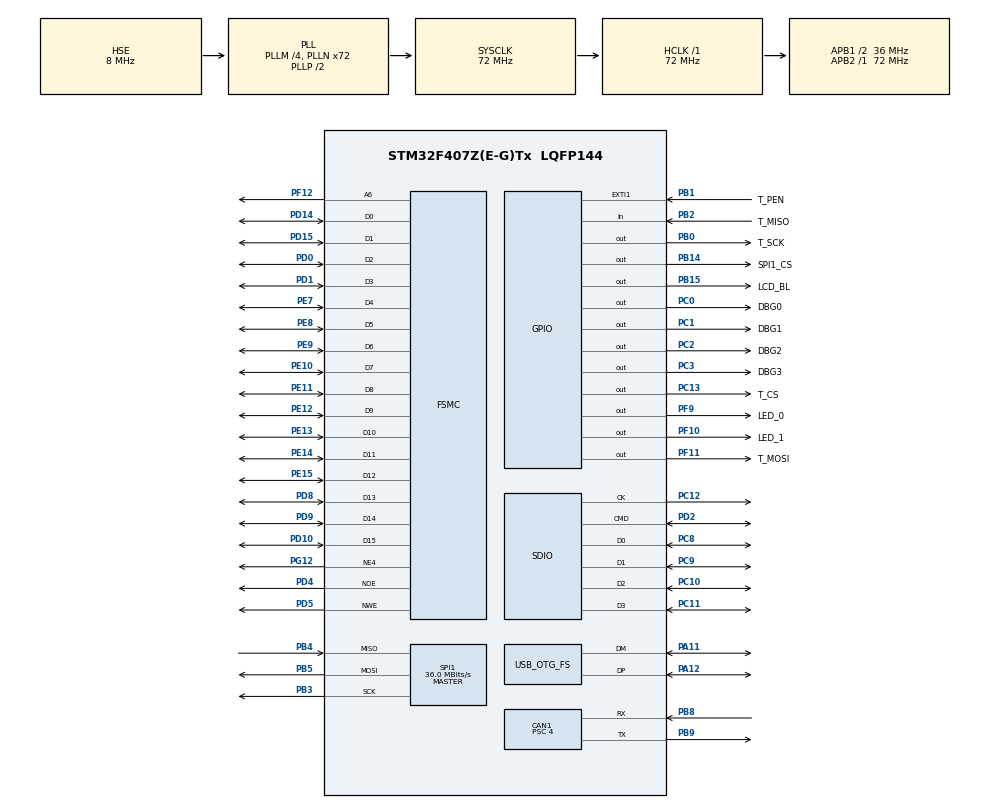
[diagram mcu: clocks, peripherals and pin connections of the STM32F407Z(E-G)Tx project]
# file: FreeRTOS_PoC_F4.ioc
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CAN1.BS1=CAN_BS1_14TQ
CAN1.BS2=CAN_BS2_3TQ
CAN1.CalculateBaudRate=500000
CAN1.CalculateTimeBit=2000
CAN1.CalculateTimeQuantum=111.11111111111111
CAN1.NART=ENABLE
CAN1.Prescaler=4
Dma.Request0=SPI1_RX
Dma.Request1=SPI1_TX
Dma.SPI1_RX.0.Direction=DMA_PERIPH_TO_MEMORY
Dma.SPI1_RX.0.FIFOMode=DMA_FIFOMODE_DISABLE
Dma.SPI1_RX.0.Instance=DMA2_Stream0
Dma.SPI1_RX.0.MemDataAlignment=DMA_MDATAALIGN_BYTE
Dma.SPI1_RX.0.MemInc=DMA_MINC_ENABLE
Dma.SPI1_RX.0.Mode=DMA_NORMAL
Dma.SPI1_RX.0.PeriphDataAlignment=DMA_PDATAALIGN_BYTE
Dma.SPI1_RX.0.PeriphInc=DMA_PINC_DISABLE
Dma.SPI1_RX.0.Priority=DMA_PRIORITY_HIGH
Dma.SPI1_TX.1.Direction=DMA_MEMORY_TO_PERIPH
Dma.SPI1_TX.1.FIFOMode=DMA_FIFOMODE_DISABLE
Dma.SPI1_TX.1.Instance=DMA2_Stream3
Dma.SPI1_TX.1.MemDataAlignment=DMA_MDATAALIGN_BYTE
Dma.SPI1_TX.1.MemInc=DMA_MINC_ENABLE
Dma.SPI1_TX.1.Mode=DMA_NORMAL
Dma.SPI1_TX.1.PeriphDataAlignment=DMA_PDATAALIGN_BYTE
Dma.SPI1_TX.1.PeriphInc=DMA_PINC_DISABLE
Dma.SPI1_TX.1.Priority=DMA_PRIORITY_MEDIUM
FREERTOS.Mutexes01=screenPosMutex,Dynamic,NULL,Available
FREERTOS.Tasks01=defaultTask,24,128,StartDefaultTask,Default,NULL,Dynamic,NULL,NULL;usbTask,25,196,StartUsbTask,Default,NULL,Dynamic,NULL,NULL;touchTask,9,128,StartTouchTask,Default,NULL,Dynamic,NULL,NULL;drawTask,8,128,StartDrawTask,Default,NULL,Dynamic,NULL,NULL
FREERTOS.configUSE_NEWLIB_REENTRANT=1
FSMC.AddressSetupTime4=1
FSMC.BusTurnAroundDuration4=0
FSMC.DataSetupTime4=6
FSMC.ExtendedAddressSetupTime4=1
FSMC.ExtendedBusTurnAroundDuration4=0
FSMC.ExtendedDataSetupTime4=6
FSMC.ExtendedMode4=FSMC_EXTENDED_MODE_ENABLE
Mcu.Family=STM32F4
Mcu.Name=STM32F407Z(E-G)Tx
Mcu.Package=LQFP144
NVIC.DMA2_Stream0_IRQn=true\:5\:0\:false\:false\:true\:true\:false\:true\:true
NVIC.DMA2_Stream3_IRQn=true\:5\:0\:false\:false\:true\:true\:false\:true\:true
NVIC.EXTI1_IRQn=true\:5\:0\:false\:false\:true\:true\:true\:true\:true
NVIC.OTG_FS_IRQn=true\:5\:0\:false\:false\:true\:true\:false\:true\:true
NVIC.PriorityGroup=NVIC_PRIORITYGROUP_4
NVIC.RCC_IRQn=true\:5\:0\:false\:false\:true\:true\:true\:false\:true
NVIC.SPI1_IRQn=true\:5\:0\:false\:false\:true\:true\:true\:true\:true
NVIC.TIM2_IRQn=true\:15\:0\:false\:false\:true\:false\:false\:true\:true
NVIC.TimeBase=TIM2_IRQn
NVIC.TimeBaseIP=TIM2
PA11.Mode=Device_Only
PA11.Signal=USB_OTG_FS_DM
PA12.Mode=Device_Only
PA12.Signal=USB_OTG_FS_DP
PA13.Mode=Serial_Wire
PA13.Signal=SYS_JTMS-SWDIO
PA14.Mode=Serial_Wire
PA14.Signal=SYS_JTCK-SWCLK
PB0.GPIO_Label=T_SCK
PB0.GPIO_Speed=GPIO_SPEED_FREQ_MEDIUM
PB0.Signal=GPIO_Output
PB1.GPIO_Label=T_PEN
PB1.GPIO_ModeDefaultEXTI=GPIO_MODE_IT_FALLING
PB1.GPIO_PuPd=GPIO_PULLUP
PB1.Signal=GPXTI1
PB14.GPIO_Label=SPI1_CS
PB14.GPIO_Speed=GPIO_SPEED_FREQ_VERY_HIGH
PB14.PinState=GPIO_PIN_SET
PB14.Signal=GPIO_Output
PB15.GPIO_Label=LCD_BL
PB15.Signal=GPIO_Output
PB2.GPIO_Label=T_MISO
PB2.Signal=GPIO_Input
PB3.Mode=Full_Duplex_Master
PB3.Signal=SPI1_SCK
PB4.Mode=Full_Duplex_Master
PB4.Signal=SPI1_MISO
PB5.Mode=Full_Duplex_Master
PB5.Signal=SPI1_MOSI
PB8.Mode=CAN_Activate
PB8.Signal=CAN1_RX
PB9.Mode=CAN_Activate
PB9.Signal=CAN1_TX
PC0.GPIO_Label=DBG0
PC0.GPIO_Speed=GPIO_SPEED_FREQ_MEDIUM
PC0.Signal=GPIO_Output
PC1.GPIO_Label=DBG1
PC1.GPIO_Speed=GPIO_SPEED_FREQ_MEDIUM
PC1.Signal=GPIO_Output
PC10.Mode=SD_4_bits_Wide_bus
PC10.Signal=SDIO_D2
PC11.Mode=SD_4_bits_Wide_bus
PC11.Signal=SDIO_D3
PC12.Mode=SD_4_bits_Wide_bus
PC12.Signal=SDIO_CK
PC13-ANTI_TAMP.GPIO_Label=T_CS
PC13-ANTI_TAMP.PinState=GPIO_PIN_SET
PC13-ANTI_TAMP.Signal=GPIO_Output
PC14-OSC32_IN.Mode=LSE-External-Oscillator
PC14-OSC32_IN.Signal=RCC_OSC32_IN
PC15-OSC32_OUT.Mode=LSE-External-Oscillator
PC15-OSC32_OUT.Signal=RCC_OSC32_OUT
PC2.GPIO_Label=DBG2
PC2.GPIO_Speed=GPIO_SPEED_FREQ_MEDIUM
PC2.Signal=GPIO_Output
PC3.GPIO_Label=DBG3
PC3.GPIO_Speed=GPIO_SPEED_FREQ_MEDIUM
PC3.Signal=GPIO_Output
PC8.Mode=SD_4_bits_Wide_bus
PC8.Signal=SDIO_D0
PC9.Mode=SD_4_bits_Wide_bus
PC9.Signal=SDIO_D1
PD0.Signal=FSMC_D2_DA2
PD1.Signal=FSMC_D3_DA3
PD10.Signal=FSMC_D15_DA15
PD14.Signal=FSMC_D0_DA0
PD15.Signal=FSMC_D1_DA1
PD2.Mode=SD_4_bits_Wide_bus
PD2.Signal=SDIO_CMD
PD4.Signal=FSMC_NOE
PD5.Signal=FSMC_NWE
PD8.Signal=FSMC_D13_DA13
PD9.Signal=FSMC_D14_DA14
PE10.Signal=FSMC_D7_DA7
PE11.Signal=FSMC_D8_DA8
PE12.Signal=FSMC_D9_DA9
PE13.Signal=FSMC_D10_DA10
PE14.Signal=FSMC_D11_DA11
PE15.Signal=FSMC_D12_DA12
PE7.Signal=FSMC_D4_DA4
PE8.Signal=FSMC_D5_DA5
PE9.Signal=FSMC_D6_DA6
PF10.GPIO_Label=LED_1
PF10.GPIO_ModeDefaultOutputPP=GPIO_MODE_OUTPUT_OD
PF10.GPIO_PuPd=GPIO_NOPULL
PF10.PinState=GPIO_PIN_SET
PF10.Signal=GPIO_Output
PF11.GPIO_Label=T_MOSI
PF11.GPIO_ModeDefaultOutputPP=GPIO_MODE_OUTPUT_PP
PF11.GPIO_Speed=GPIO_SPEED_FREQ_MEDIUM
PF11.PinState=GPIO_PIN_SET
PF11.Signal=GPIO_Output
PF12.Signal=FSMC_A6
PF9.GPIO_Label=LED_0
PF9.GPIO_ModeDefaultOutputPP=GPIO_MODE_OUTPUT_OD
PF9.GPIO_PuPd=GPIO_NOPULL
PF9.PinState=GPIO_PIN_SET
PF9.Signal=GPIO_Output
PG12.Mode=NorPsramChipSelect4_4
PG12.Signal=FSMC_NE4
PH0-OSC_IN.Mode=HSE-External-Oscillator
PH0-OSC_IN.Signal=RCC_OSC_IN
PH1-OSC_OUT.Mode=HSE-External-Oscillator
PH1-OSC_OUT.Signal=RCC_OSC_OUT
ProjectManager.HeapSize=0x200
ProjectManager.StackSize=0x400
ProjectManager.TargetToolchain=STM32CubeIDE
RCC.48MHZClocksFreq_Value=48000000
RCC.AHBFreq_Value=72000000
RCC.APB1CLKDivider=RCC_HCLK_DIV2
RCC.APB1Freq_Value=36000000
RCC.APB1TimFreq_Value=72000000
RCC.APB2Freq_Value=72000000
RCC.APB2TimFreq_Value=72000000
RCC.CortexFreq_Value=72000000
RCC.HCLKFreq_Value=72000000
RCC.HSE_VALUE=8000000
RCC.HSI_VALUE=16000000
RCC.PLLM=4
RCC.PLLN=72
RCC.PLLQ=3
RCC.SYSCLKFreq_VALUE=72000000
RCC.SYSCLKSource=RCC_SYSCLKSOURCE_PLLCLK
RCC.VCOOutputFreq_Value=144000000
SDIO.ClockDiv=10
SH.FSMC_A6.0=FSMC_A6,A6_4
SH.FSMC_D0_DA0.0=FSMC_D0,16b-d4
SH.FSMC_D10_DA10.0=FSMC_D10,16b-d4
SH.FSMC_D11_DA11.0=FSMC_D11,16b-d4
SH.FSMC_D12_DA12.0=FSMC_D12,16b-d4
SH.FSMC_D13_DA13.0=FSMC_D13,16b-d4
SH.FSMC_D14_DA14.0=FSMC_D14,16b-d4
SH.FSMC_D15_DA15.0=FSMC_D15,16b-d4
SH.FSMC_D1_DA1.0=FSMC_D1,16b-d4
SH.FSMC_D2_DA2.0=FSMC_D2,16b-d4
SH.FSMC_D3_DA3.0=FSMC_D3,16b-d4
SH.FSMC_D4_DA4.0=FSMC_D4,16b-d4
SH.FSMC_D5_DA5.0=FSMC_D5,16b-d4
SH.FSMC_D6_DA6.0=FSMC_D6,16b-d4
SH.FSMC_D7_DA7.0=FSMC_D7,16b-d4
SH.FSMC_D8_DA8.0=FSMC_D8,16b-d4
SH.FSMC_D9_DA9.0=FSMC_D9,16b-d4
SH.FSMC_NOE.0=FSMC_NOE,Lcd4
SH.FSMC_NWE.0=FSMC_NWE,Lcd4
SPI1.BaudRatePrescaler=SPI_BAUDRATEPRESCALER_2
SPI1.CalculateBaudRate=36.0 MBits/s
SPI1.Direction=SPI_DIRECTION_2LINES
SPI1.Mode=SPI_MODE_MASTER
SPI1.VirtualType=VM_MASTER
USB_DEVICE.APP_RX_DATA_SIZE-CDC_FS=512
USB_DEVICE.APP_TX_DATA_SIZE-CDC_FS=512
USB_DEVICE.CLASS_NAME_FS=CDC
USB_DEVICE.VirtualMode-CDC_FS=Cdc
USB_DEVICE.VirtualModeFS=Cdc_FS
USB_OTG_FS.VirtualMode=Device_Only
VP_CRC_VS_CRC.Mode=CRC_Activate
VP_FREERTOS_VS_CMSIS_V2.Mode=CMSIS_V2
VP_RNG_VS_RNG.Mode=RNG_Activate
VP_RTC_VS_RTC_Activate.Mode=RTC_Enabled
VP_SYS_VS_tim2.Mode=TIM2
VP_USB_DEVICE_VS_USB_DEVICE_CDC_FS.Mode=CDC_FS
board=custom

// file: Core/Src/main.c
/* USER CODE BEGIN Header */
/**
  ******************************************************************************
  * @file           : main.c
  * @brief          : Main program body
  ******************************************************************************
  * @attention
  *
  * Copyright (c) 2026 STMicroelectronics.
  * All rights reserved.
  *
  * This software is licensed under terms that can be found in the LICENSE file
  * in the root directory of this software component.
  * If no LICENSE file comes with this software, it is provided AS-IS.
  *
  ******************************************************************************
  */
/* USER CODE END Header */
#include "main.h"
#include "cmsis_os.h"
#include "usb_device.h"

/* USER CODE BEGIN Includes */
#include "stm32f4xx_hal.h"	// for DWT
#include "my_rtt.h"
#include "usb_task.h"
#include "flash.h"
#include "ili9341.h"
#include "sampleImage.h"
#include "touch.h"
#include "can_test.h"
/* USER CODE END Includes */

CAN_HandleTypeDef hcan;

CRC_HandleTypeDef hcrc;

RNG_HandleTypeDef hrng;

RTC_HandleTypeDef hrtc;

SD_HandleTypeDef hsd;

SPI_HandleTypeDef hspi1;
DMA_HandleTypeDef hdma_spi1_rx;
DMA_HandleTypeDef hdma_spi1_tx;

SRAM_HandleTypeDef hsram4;

/* Definitions for defaultTask */
osThreadId_t defaultTaskHandle;
const osThreadAttr_t defaultTask_attributes = {
  .name = "defaultTask",
  .stack_size = 128 * 4,
  .priority = (osPriority_t) osPriorityNormal,
};
/* Definitions for usbTask */
osThreadId_t usbTaskHandle;
const osThreadAttr_t usbTask_attributes = {
  .name = "usbTask",
  .stack_size = 196 * 4,
  .priority = (osPriority_t) osPriorityNormal1,
};
/* Definitions for touchTask */
osThreadId_t touchTaskHandle;
const osThreadAttr_t touchTask_attributes = {
  .name = "touchTask",
  .stack_size = 128 * 4,
  .priority = (osPriority_t) osPriorityLow1,
};
/* Definitions for drawTask */
osThreadId_t drawTaskHandle;
const osThreadAttr_t drawTask_attributes = {
  .name = "drawTask",
  .stack_size = 128 * 4,
  .priority = (osPriority_t) osPriorityLow,
};
/* Definitions for screenPosMutex */
osMutexId_t screenPosMutexHandle;
const osMutexAttr_t screenPosMutex_attributes = {
  .name = "screenPosMutex"
};

void SystemClock_Config(void);
static void MX_GPIO_Init(void);
static void MX_DMA_Init(void);
static void MX_RTC_Init(void);
static void MX_CRC_Init(void);
static void MX_SPI1_Init(void);
static void MX_SDIO_SD_Init(void);
static void MX_FSMC_Init(void);
static void MX_RNG_Init(void);
static void MX_CAN1_Init(void);
void StartDefaultTask(void *argument);
void StartUsbTask(void *argument);
void StartTouchTask(void *argument);
void StartDrawTask(void *argument);

/* USER CODE BEGIN 0 */

void DWT_Init(void) {
    // 1. Enable the Core Debug architecture (needed to use DWT)
    CoreDebug->DEMCR |= CoreDebug_DEMCR_TRCENA_Msk;

    // 2. Unlock the DWT registers (required on some Cortex-M4 cores)
//    DWT->LAR = 0xC5ACCE55; // none on F4

    // 3. Reset the cycle counter register to 0
    DWT->CYCCNT = 0;

    // 4. Enable the cycle counter control bit
    DWT->CTRL |= DWT_CTRL_CYCCNTENA_Msk;
}

/* USER CODE END 0 */

int main(void)
{

  /* USER CODE BEGIN 1 */
#if defined(DEBUG) && defined(ENABLE_RTT_LOGGING)
  SEGGER_RTT_ConfigUpBuffer(0, NULL, NULL, 0, SEGGER_RTT_MODE_BLOCK_IF_FIFO_FULL);
#endif
  /* USER CODE END 1 */

  /* MCU Configuration--------------------------------------------------------*/

  /* Reset of all peripherals, Initializes the Flash interface and the Systick. */
  HAL_Init();

  /* Configure the system clock */
  SystemClock_Config();

  /* USER CODE BEGIN SysInit */
  DWT_Init();
  /* USER CODE END SysInit */

  /* Initialize all configured peripherals */
  MX_GPIO_Init();
  MX_DMA_Init();
  MX_RTC_Init();
  MX_CRC_Init();
  MX_SPI1_Init();
  MX_SDIO_SD_Init();
  MX_FSMC_Init();
  MX_RNG_Init();
  MX_CAN1_Init();
  /* USER CODE BEGIN 2 */
  lcdInit();
  lcdBacklightOn();
  lcdFillRGB(COLOR_WHITE);

  CAN_StartDriver();

#ifdef DO_CAN_RX
  CAN_RxInit();
  RTT_puts(0, " CAN Rx started\r\n");
#endif

#ifdef DO_CAN_TX
  CAN_TxInit();
#endif

  /* USER CODE END 2 */

  /* Init scheduler */
  osKernelInitialize();
  /* Create the mutex(es) */
  /* creation of screenPosMutex */
  screenPosMutexHandle = osMutexNew(&screenPosMutex_attributes);

  /* USER CODE BEGIN RTOS_SEMAPHORES */
  FlashDriverInit();
  /* USER CODE END RTOS_SEMAPHORES */

  /* Create the thread(s) */
  /* creation of defaultTask */
  defaultTaskHandle = osThreadNew(StartDefaultTask, NULL, &defaultTask_attributes);

  /* creation of usbTask */
  usbTaskHandle = osThreadNew(StartUsbTask, NULL, &usbTask_attributes);

  /* creation of touchTask */
  touchTaskHandle = osThreadNew(StartTouchTask, NULL, &touchTask_attributes);

  /* creation of drawTask */
  drawTaskHandle = osThreadNew(StartDrawTask, NULL, &drawTask_attributes);

  /* USER CODE BEGIN RTOS_THREADS */
  /* add threads, ... */
  Touch_Init();
  /* USER CODE END RTOS_THREADS */

  /* Start scheduler */
  osKernelStart();

  /* We should never get here as control is now taken by the scheduler */

  /* Infinite loop */
  while (1)
  {

  }
}

void SystemClock_Config(void)
{
  RCC_OscInitTypeDef RCC_OscInitStruct = {0};
  RCC_ClkInitTypeDef RCC_ClkInitStruct = {0};

  /** Configure the main internal regulator output voltage
  */
  __HAL_RCC_PWR_CLK_ENABLE();
  __HAL_PWR_VOLTAGESCALING_CONFIG(PWR_REGULATOR_VOLTAGE_SCALE1);

  /** Initializes the RCC Oscillators according to the specified parameters
  * in the RCC_OscInitTypeDef structure.
  */
  RCC_OscInitStruct.OscillatorType = RCC_OSCILLATORTYPE_LSI|RCC_OSCILLATORTYPE_HSE;
  RCC_OscInitStruct.HSEState = RCC_HSE_ON;
  RCC_OscInitStruct.LSIState = RCC_LSI_ON;
  RCC_OscInitStruct.PLL.PLLState = RCC_PLL_ON;
  RCC_OscInitStruct.PLL.PLLSource = RCC_PLLSOURCE_HSE;
  RCC_OscInitStruct.PLL.PLLM = 4;
  RCC_OscInitStruct.PLL.PLLN = 72;
  RCC_OscInitStruct.PLL.PLLP = RCC_PLLP_DIV2;
  RCC_OscInitStruct.PLL.PLLQ = 3;
  if (HAL_RCC_OscConfig(&RCC_OscInitStruct) != HAL_OK)
  {
    Error_Handler();
  }

  /** Initializes the CPU, AHB and APB buses clocks
  */
  RCC_ClkInitStruct.ClockType = RCC_CLOCKTYPE_HCLK|RCC_CLOCKTYPE_SYSCLK
                              |RCC_CLOCKTYPE_PCLK1|RCC_CLOCKTYPE_PCLK2;
  RCC_ClkInitStruct.SYSCLKSource = RCC_SYSCLKSOURCE_PLLCLK;
  RCC_ClkInitStruct.AHBCLKDivider = RCC_SYSCLK_DIV1;
  RCC_ClkInitStruct.APB1CLKDivider = RCC_HCLK_DIV2;
  RCC_ClkInitStruct.APB2CLKDivider = RCC_HCLK_DIV1;

  if (HAL_RCC_ClockConfig(&RCC_ClkInitStruct, FLASH_LATENCY_2) != HAL_OK)
  {
    Error_Handler();
  }
}

static void MX_CAN1_Init(void)
{

  hcan.Instance = CAN1;
  hcan.Init.Prescaler = 4;
  hcan.Init.Mode = CAN_MODE_NORMAL;
  hcan.Init.SyncJumpWidth = CAN_SJW_1TQ;
  hcan.Init.TimeSeg1 = CAN_BS1_14TQ;
  hcan.Init.TimeSeg2 = CAN_BS2_3TQ;
  hcan.Init.TimeTriggeredMode = DISABLE;
  hcan.Init.AutoBusOff = DISABLE;
  hcan.Init.AutoWakeUp = DISABLE;
  hcan.Init.AutoRetransmission = ENABLE;
  hcan.Init.ReceiveFifoLocked = DISABLE;
  hcan.Init.TransmitFifoPriority = DISABLE;
  if (HAL_CAN_Init(&hcan) != HAL_OK)
  {
    Error_Handler();
  }

}

static void MX_CRC_Init(void)
{

  hcrc.Instance = CRC;
  if (HAL_CRC_Init(&hcrc) != HAL_OK)
  {
    Error_Handler();
  }

}

static void MX_RNG_Init(void)
{

  hrng.Instance = RNG;
  if (HAL_RNG_Init(&hrng) != HAL_OK)
  {
    Error_Handler();
  }

}

static void MX_RTC_Init(void)
{

  /** Initialize RTC Only
  */
  hrtc.Instance = RTC;
  hrtc.Init.HourFormat = RTC_HOURFORMAT_24;
  hrtc.Init.AsynchPrediv = 127;
  hrtc.Init.SynchPrediv = 255;
  hrtc.Init.OutPut = RTC_OUTPUT_DISABLE;
  hrtc.Init.OutPutPolarity = RTC_OUTPUT_POLARITY_HIGH;
  hrtc.Init.OutPutType = RTC_OUTPUT_TYPE_OPENDRAIN;
  if (HAL_RTC_Init(&hrtc) != HAL_OK)
  {
    Error_Handler();
  }

}

static void MX_SDIO_SD_Init(void)
{

  hsd.Instance = SDIO;
  hsd.Init.ClockEdge = SDIO_CLOCK_EDGE_RISING;
  hsd.Init.ClockBypass = SDIO_CLOCK_BYPASS_DISABLE;
  hsd.Init.ClockPowerSave = SDIO_CLOCK_POWER_SAVE_DISABLE;
  hsd.Init.BusWide = SDIO_BUS_WIDE_1B;
  hsd.Init.HardwareFlowControl = SDIO_HARDWARE_FLOW_CONTROL_DISABLE;
  hsd.Init.ClockDiv = 10;
  if (HAL_SD_Init(&hsd) != HAL_OK)
  {
    Error_Handler();
  }
  if (HAL_SD_ConfigWideBusOperation(&hsd, SDIO_BUS_WIDE_4B) != HAL_OK)
  {
    Error_Handler();
  }

}

static void MX_SPI1_Init(void)
{

  /* SPI1 parameter configuration*/
  hspi1.Instance = SPI1;
  hspi1.Init.Mode = SPI_MODE_MASTER;
  hspi1.Init.Direction = SPI_DIRECTION_2LINES;
  hspi1.Init.DataSize = SPI_DATASIZE_8BIT;
  hspi1.Init.CLKPolarity = SPI_POLARITY_LOW;
  hspi1.Init.CLKPhase = SPI_PHASE_1EDGE;
  hspi1.Init.NSS = SPI_NSS_SOFT;
  hspi1.Init.BaudRatePrescaler = SPI_BAUDRATEPRESCALER_2;
  hspi1.Init.FirstBit = SPI_FIRSTBIT_MSB;
  hspi1.Init.TIMode = SPI_TIMODE_DISABLE;
  hspi1.Init.CRCCalculation = SPI_CRCCALCULATION_DISABLE;
  hspi1.Init.CRCPolynomial = 10;
  if (HAL_SPI_Init(&hspi1) != HAL_OK)
  {
    Error_Handler();
  }

}

static void MX_DMA_Init(void)
{

  /* DMA controller clock enable */
  __HAL_RCC_DMA2_CLK_ENABLE();

  /* DMA interrupt init */
  /* DMA2_Stream0_IRQn interrupt configuration */
  HAL_NVIC_SetPriority(DMA2_Stream0_IRQn, 5, 0);
  HAL_NVIC_EnableIRQ(DMA2_Stream0_IRQn);
  /* DMA2_Stream3_IRQn interrupt configuration */
  HAL_NVIC_SetPriority(DMA2_Stream3_IRQn, 5, 0);
  HAL_NVIC_EnableIRQ(DMA2_Stream3_IRQn);

}

static void MX_GPIO_Init(void)
{
  GPIO_InitTypeDef GPIO_InitStruct = {0};

  /* GPIO Ports Clock Enable */
  __HAL_RCC_GPIOC_CLK_ENABLE();
  __HAL_RCC_GPIOF_CLK_ENABLE();
  __HAL_RCC_GPIOH_CLK_ENABLE();
  __HAL_RCC_GPIOB_CLK_ENABLE();
  __HAL_RCC_GPIOE_CLK_ENABLE();
  __HAL_RCC_GPIOD_CLK_ENABLE();
  __HAL_RCC_GPIOA_CLK_ENABLE();
  __HAL_RCC_GPIOG_CLK_ENABLE();

  /*Configure GPIO pin Output Level */
  HAL_GPIO_WritePin(T_CS_GPIO_Port, T_CS_Pin, GPIO_PIN_SET);

  /*Configure GPIO pin Output Level */
  HAL_GPIO_WritePin(GPIOF, LED_0_Pin|LED_1_Pin|T_MOSI_Pin, GPIO_PIN_SET);

  /*Configure GPIO pin Output Level */
  HAL_GPIO_WritePin(GPIOC, DBG0_Pin|DBG1_Pin|DBG2_Pin|DBG3_Pin, GPIO_PIN_RESET);

  /*Configure GPIO pin Output Level */
  HAL_GPIO_WritePin(GPIOB, T_SCK_Pin|LCD_BL_Pin, GPIO_PIN_RESET);

  /*Configure GPIO pin Output Level */
  HAL_GPIO_WritePin(SPI1_CS_GPIO_Port, SPI1_CS_Pin, GPIO_PIN_SET);

  /*Configure GPIO pin : T_CS_Pin */
  GPIO_InitStruct.Pin = T_CS_Pin;
  GPIO_InitStruct.Mode = GPIO_MODE_OUTPUT_PP;
  GPIO_InitStruct.Pull = GPIO_NOPULL;
  GPIO_InitStruct.Speed = GPIO_SPEED_FREQ_LOW;
  HAL_GPIO_Init(T_CS_GPIO_Port, &GPIO_InitStruct);

  /*Configure GPIO pins : LED_0_Pin LED_1_Pin */
  GPIO_InitStruct.Pin = LED_0_Pin|LED_1_Pin;
  GPIO_InitStruct.Mode = GPIO_MODE_OUTPUT_OD;
  GPIO_InitStruct.Pull = GPIO_NOPULL;
  GPIO_InitStruct.Speed = GPIO_SPEED_FREQ_LOW;
  HAL_GPIO_Init(GPIOF, &GPIO_InitStruct);

  /*Configure GPIO pins : DBG0_Pin DBG1_Pin DBG2_Pin DBG3_Pin */
  GPIO_InitStruct.Pin = DBG0_Pin|DBG1_Pin|DBG2_Pin|DBG3_Pin;
  GPIO_InitStruct.Mode = GPIO_MODE_OUTPUT_PP;
  GPIO_InitStruct.Pull = GPIO_NOPULL;
  GPIO_InitStruct.Speed = GPIO_SPEED_FREQ_MEDIUM;
  HAL_GPIO_Init(GPIOC, &GPIO_InitStruct);

  /*Configure GPIO pin : T_SCK_Pin */
  GPIO_InitStruct.Pin = T_SCK_Pin;
  GPIO_InitStruct.Mode = GPIO_MODE_OUTPUT_PP;
  GPIO_InitStruct.Pull = GPIO_NOPULL;
  GPIO_InitStruct.Speed = GPIO_SPEED_FREQ_MEDIUM;
  HAL_GPIO_Init(T_SCK_GPIO_Port, &GPIO_InitStruct);

  /*Configure GPIO pin : T_PEN_Pin */
  GPIO_InitStruct.Pin = T_PEN_Pin;
  GPIO_InitStruct.Mode = GPIO_MODE_IT_FALLING;
  GPIO_InitStruct.Pull = GPIO_PULLUP;
  HAL_GPIO_Init(T_PEN_GPIO_Port, &GPIO_InitStruct);

  /*Configure GPIO pin : T_MISO_Pin */
  GPIO_InitStruct.Pin = T_MISO_Pin;
  GPIO_InitStruct.Mode = GPIO_MODE_INPUT;
  GPIO_InitStruct.Pull = GPIO_NOPULL;
  HAL_GPIO_Init(T_MISO_GPIO_Port, &GPIO_InitStruct);

  /*Configure GPIO pin : T_MOSI_Pin */
  GPIO_InitStruct.Pin = T_MOSI_Pin;
  GPIO_InitStruct.Mode = GPIO_MODE_OUTPUT_PP;
  GPIO_InitStruct.Pull = GPIO_NOPULL;
  GPIO_InitStruct.Speed = GPIO_SPEED_FREQ_MEDIUM;
  HAL_GPIO_Init(T_MOSI_GPIO_Port, &GPIO_InitStruct);

  /*Configure GPIO pin : SPI1_CS_Pin */
  GPIO_InitStruct.Pin = SPI1_CS_Pin;
  GPIO_InitStruct.Mode = GPIO_MODE_OUTPUT_PP;
  GPIO_InitStruct.Pull = GPIO_NOPULL;
  GPIO_InitStruct.Speed = GPIO_SPEED_FREQ_VERY_HIGH;
  HAL_GPIO_Init(SPI1_CS_GPIO_Port, &GPIO_InitStruct);

  /*Configure GPIO pin : LCD_BL_Pin */
  GPIO_InitStruct.Pin = LCD_BL_Pin;
  GPIO_InitStruct.Mode = GPIO_MODE_OUTPUT_PP;
  GPIO_InitStruct.Pull = GPIO_NOPULL;
  GPIO_InitStruct.Speed = GPIO_SPEED_FREQ_LOW;
  HAL_GPIO_Init(LCD_BL_GPIO_Port, &GPIO_InitStruct);

  /* EXTI interrupt init*/
  HAL_NVIC_SetPriority(EXTI1_IRQn, 5, 0);
  HAL_NVIC_EnableIRQ(EXTI1_IRQn);

}

/* FSMC initialization function */
static void MX_FSMC_Init(void)
{

  FSMC_NORSRAM_TimingTypeDef Timing = {0};
  FSMC_NORSRAM_TimingTypeDef ExtTiming = {0};

  /** Perform the SRAM4 memory initialization sequence
  */
  hsram4.Instance = FSMC_NORSRAM_DEVICE;
  hsram4.Extended = FSMC_NORSRAM_EXTENDED_DEVICE;
  /* hsram4.Init */
  hsram4.Init.NSBank = FSMC_NORSRAM_BANK4;
  hsram4.Init.DataAddressMux = FSMC_DATA_ADDRESS_MUX_DISABLE;
  hsram4.Init.MemoryType = FSMC_MEMORY_TYPE_SRAM;
  hsram4.Init.MemoryDataWidth = FSMC_NORSRAM_MEM_BUS_WIDTH_16;
  hsram4.Init.BurstAccessMode = FSMC_BURST_ACCESS_MODE_DISABLE;
  hsram4.Init.WaitSignalPolarity = FSMC_WAIT_SIGNAL_POLARITY_LOW;
  hsram4.Init.WrapMode = FSMC_WRAP_MODE_DISABLE;
  hsram4.Init.WaitSignalActive = FSMC_WAIT_TIMING_BEFORE_WS;
  hsram4.Init.WriteOperation = FSMC_WRITE_OPERATION_ENABLE;
  hsram4.Init.WaitSignal = FSMC_WAIT_SIGNAL_DISABLE;
  hsram4.Init.ExtendedMode = FSMC_EXTENDED_MODE_ENABLE;
  hsram4.Init.AsynchronousWait = FSMC_ASYNCHRONOUS_WAIT_DISABLE;
  hsram4.Init.WriteBurst = FSMC_WRITE_BURST_DISABLE;
  hsram4.Init.PageSize = FSMC_PAGE_SIZE_NONE;
  /* Timing */
  Timing.AddressSetupTime = 1;
  Timing.AddressHoldTime = 15;
  Timing.DataSetupTime = 6;
  Timing.BusTurnAroundDuration = 0;
  Timing.CLKDivision = 16;
  Timing.DataLatency = 17;
  Timing.AccessMode = FSMC_ACCESS_MODE_A;
  /* ExtTiming */
  ExtTiming.AddressSetupTime = 1;
  ExtTiming.AddressHoldTime = 15;
  ExtTiming.DataSetupTime = 6;
  ExtTiming.BusTurnAroundDuration = 0;
  ExtTiming.CLKDivision = 16;
  ExtTiming.DataLatency = 17;
  ExtTiming.AccessMode = FSMC_ACCESS_MODE_A;

  if (HAL_SRAM_Init(&hsram4, &Timing, &ExtTiming) != HAL_OK)
  {
    Error_Handler( );
  }

}

void StartDefaultTask(void *argument)
{
  /* init code for USB_DEVICE */
  MX_USB_DEVICE_Init();
  /* USER CODE BEGIN 5 */
	TickType_t lastWakeTime = xTaskGetTickCount();

	// use LED0 as heartbeat
	volatile uint8_t ledState = GPIO_PIN_RESET;

  /* Infinite loop */
  for(;;)
  {
    HAL_GPIO_WritePin(GPIOF, LED_0_Pin, ledState);
  	vTaskDelayUntil(&lastWakeTime, pdMS_TO_TICKS(1000));
  	ledState = (ledState == GPIO_PIN_RESET)?GPIO_PIN_SET:GPIO_PIN_RESET;

  	// for testing - send canned data over CAN
    HAL_StatusTypeDef status;

    status = CAN_Send();

    if (status == HAL_OK)
    {
      CAN_TestModifyTxData();
    }
  }
  /* USER CODE END 5 */
}

void StartUsbTask(void *argument)
{
  /* USER CODE BEGIN StartUsbTask */
	UsbTask_Run(argument);
  /* USER CODE END StartUsbTask */
}

void StartTouchTask(void *argument)
{
  /* USER CODE BEGIN StartTouchTask */
	TouchTask_Run(argument);
  /* USER CODE END StartTouchTask */
}

void StartDrawTask(void *argument)
{
  /* USER CODE BEGIN StartDrawTask */
	DrawTask_Run(argument);
  /* USER CODE END StartDrawTask */
}

void HAL_TIM_PeriodElapsedCallback(TIM_HandleTypeDef *htim)
{
  if (htim->Instance == TIM2)
  {
    HAL_IncTick();
  }
}

void Error_Handler(void)
{
  __disable_irq();
  while (1)
  {
  }
}
